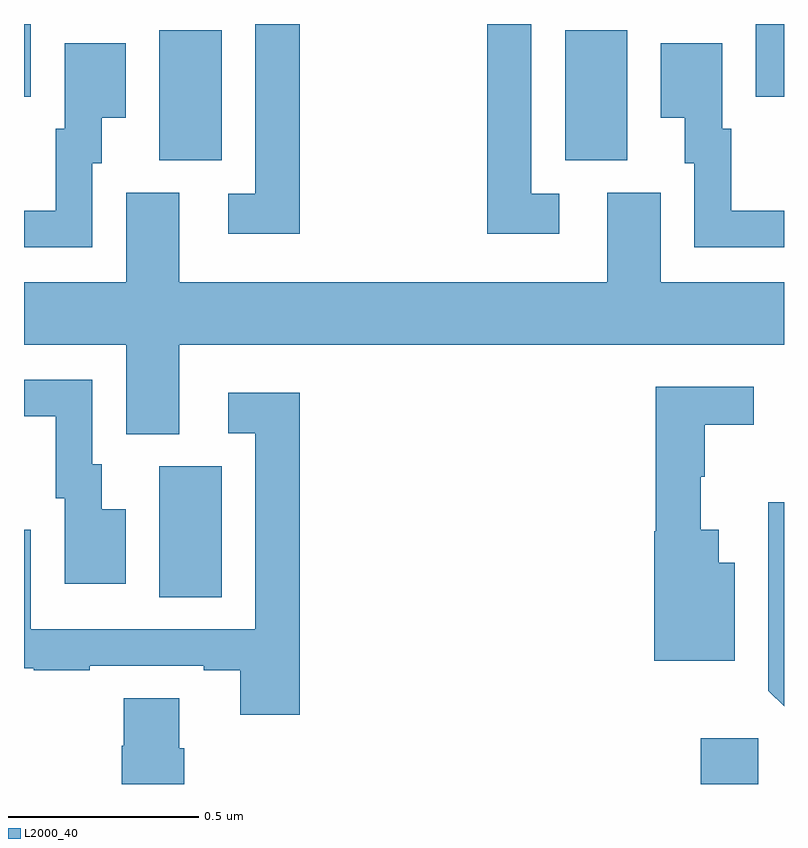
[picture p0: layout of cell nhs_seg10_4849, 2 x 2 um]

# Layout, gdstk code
import gdstk
lib = gdstk.Library(unit=1e-6, precision=1e-09)
def R(c, l, rs):  # rectangles x0, y0, x1, y1
    for r in rs: c.add(gdstk.rectangle(r[:2], r[2:], *l))
def P(c, l, *ps):  # polygons
    for p in ps: c.add(gdstk.Polygon(p, *l))
L2000_40 = (2000, 40)

nhs_seg10_4849 = lib.new_cell('nhs_seg10_4849')
R(nhs_seg10_4849, L2000_40, [(172.781,1292.5,172.932,1292.62), (171.356,1292.992,171.52,1293.336), (171.356,1294.141,171.52,1294.484), (172.424,1294.141,172.588,1294.484), (171,1294.308,171.018,1294.5), (172.926,1294.308,173,1294.5)])
P(nhs_seg10_4849, L2000_40, [(172.408,1294.053),(172.335,1294.053),(172.335,1294.5),(172.219,1294.5),(172.219,1293.948),(172.408,1293.948)],
  [(171.725,1294.5),(171.609,1294.5),(171.609,1294.053),(171.537,1294.053),(171.537,1293.948),(171.725,1293.948)],
  [(173,1294.008),(172.861,1294.008),(172.861,1294.224),(172.837,1294.224),(172.837,1294.45),(172.676,1294.45),(172.676,1294.253),(172.739,1294.253),(172.739,1294.134),(172.764,1294.134),(172.764,1293.912),(173,1293.912)],
  [(171.18,1294.134),(171.205,1294.134),(171.205,1294.253),(171.268,1294.253),(171.268,1294.45),(171.107,1294.45),(171.107,1294.224),(171.083,1294.224),(171.083,1294.008),(171,1294.008),(171,1293.912),(171.18,1293.912)],
  [(171.409,1293.656),(173,1293.656),(173,1293.82),(172.675,1293.82),(172.675,1294.056),(172.535,1294.056),(172.535,1293.82),(171.409,1293.82),(171.409,1294.056),(171.269,1294.056),(171.269,1293.82),(171,1293.82),(171,1293.656),(171.269,1293.656),(171.269,1293.421),(171.409,1293.421)],
  [(171.268,1293.223),(171.205,1293.223),(171.205,1293.342),(171.18,1293.342),(171.18,1293.564),(171,1293.564),(171,1293.468),(171.083,1293.468),(171.083,1293.252),(171.107,1293.252),(171.107,1293.027),(171.268,1293.027)],
  [(172.87,1293.082),(172.828,1293.082),(172.828,1293.169),(172.781,1293.169),(172.781,1293.309),(172.792,1293.309),(172.792,1293.445),(172.921,1293.445),(172.921,1293.546),(172.663,1293.546),(172.663,1293.165),(172.658,1293.165),(172.658,1292.825),(172.87,1292.825)],
  [(171.725,1293.529),(171.537,1293.529),(171.537,1293.423),(171.609,1293.423),(171.609,1292.907),(171.018,1292.907),(171.018,1293.169),(171,1293.169),(171,1292.805),(171.025,1292.805),(171.025,1292.799),(171.173,1292.799),(171.173,1292.811),(171.473,1292.811),(171.473,1292.799),(171.569,1292.799),(171.569,1292.682),(171.725,1292.682)],
  [(173,1293.241),(172.959,1293.241),(172.959,1292.745),(173,1292.704)],
  [(171.422,1292.594),(171.409,1292.594),(171.409,1292.726),(171.262,1292.726),(171.262,1292.601),(171.257,1292.601),(171.257,1292.5),(171.422,1292.5)])

lib.write_gds('nhs_seg10_4849.gds')
